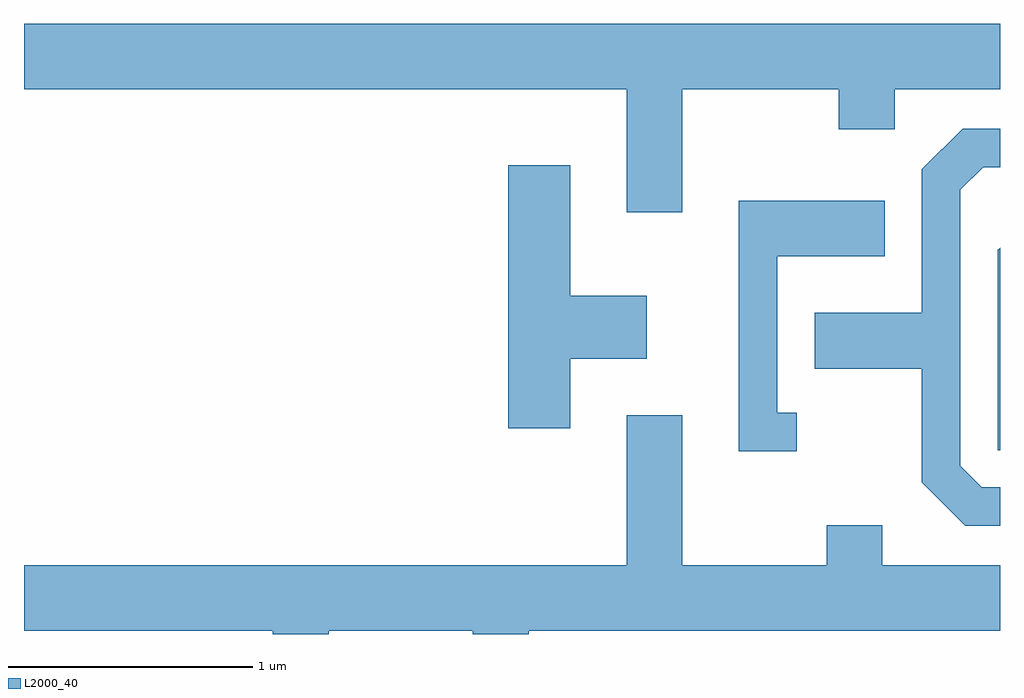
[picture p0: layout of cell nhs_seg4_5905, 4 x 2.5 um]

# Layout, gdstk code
import gdstk
lib = gdstk.Library(unit=1e-6, precision=1e-09)
def P(c, l, *ps):  # polygons
    for p in ps: c.add(gdstk.Polygon(p, *l))
L2000_40 = (2000, 40)

nhs_seg4_5905 = lib.new_cell('nhs_seg4_5905')
P(nhs_seg4_5905, L2000_40, [(360.309,1370.216),(360.951,1370.216),(360.951,1370.051),(361.179,1370.051),(361.179,1370.216),(361.611,1370.216),(361.611,1370.484),(357.611,1370.484),(357.611,1370.216),(360.081,1370.216),(360.081,1369.711),(360.309,1369.711)],
  [(361.611,1368.584),(361.537,1368.584),(361.449,1368.672),(361.449,1369.804),(361.542,1369.896),(361.611,1369.896),(361.611,1370.054),(361.459,1370.054),(361.291,1369.887),(361.291,1369.299),(360.851,1369.299),(360.851,1369.071),(361.291,1369.071),(361.291,1368.604),(361.469,1368.426),(361.611,1368.426)],
  [(359.849,1369.111),(360.164,1369.111),(360.164,1369.369),(359.849,1369.369),(359.849,1369.904),(359.596,1369.904),(359.596,1368.826),(359.849,1368.826)],
  [(360.778,1368.889),(360.699,1368.889),(360.699,1369.531),(361.139,1369.531),(361.139,1369.759),(360.541,1369.759),(360.541,1368.731),(360.778,1368.731)],
  [(361.611,1369.567),(361.601,1369.557),(361.601,1368.736),(361.611,1368.736)],
  [(358.859,1367.996),(359.451,1367.996),(359.451,1367.982),(359.679,1367.982),(359.679,1367.996),(361.611,1367.996),(361.611,1368.264),(361.129,1368.264),(361.129,1368.429),(360.901,1368.429),(360.901,1368.264),(360.309,1368.264),(360.309,1368.879),(360.081,1368.879),(360.081,1368.264),(357.611,1368.264),(357.611,1367.996),(358.631,1367.996),(358.631,1367.982),(358.859,1367.982)])

lib.write_gds('nhs_seg4_5905.gds')
